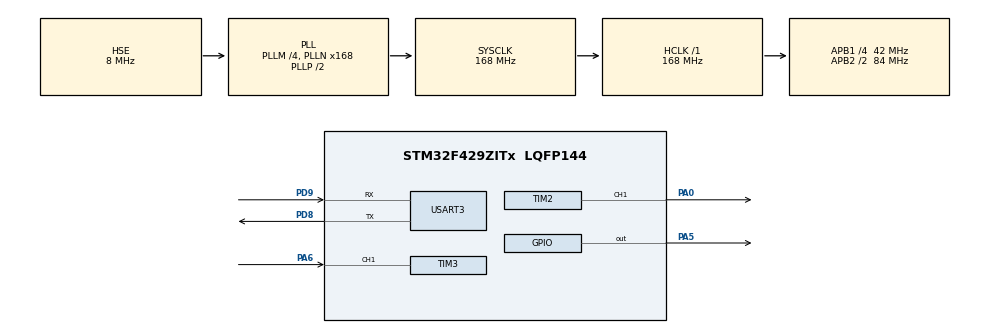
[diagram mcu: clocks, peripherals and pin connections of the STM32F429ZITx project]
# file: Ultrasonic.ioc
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Mcu.Family=STM32F4
Mcu.Name=STM32F429ZITx
Mcu.Package=LQFP144
NVIC.PriorityGroup=NVIC_PRIORITYGROUP_4
NVIC.TIM3_IRQn=true\:0\:0\:false\:false\:true\:true\:true\:true
PA0/WKUP.Signal=S_TIM2_CH1_ETR
PA5.Signal=GPIO_Output
PA6.Signal=S_TIM3_CH1
PC14/OSC32_IN.Mode=LSE-External-Oscillator
PC14/OSC32_IN.Signal=RCC_OSC32_IN
PC15/OSC32_OUT.Mode=LSE-External-Oscillator
PC15/OSC32_OUT.Signal=RCC_OSC32_OUT
PD8.Mode=Asynchronous
PD8.Signal=USART3_TX
PD9.Mode=Asynchronous
PD9.Signal=USART3_RX
PH0/OSC_IN.Mode=HSE-External-Clock-Source
PH0/OSC_IN.Signal=RCC_OSC_IN
PH1/OSC_OUT.Mode=HSE-External-Clock-Source
PH1/OSC_OUT.Signal=RCC_OSC_OUT
ProjectManager.HeapSize=0x200
ProjectManager.StackSize=0x400
ProjectManager.TargetToolchain=STM32CubeIDE
RCC.48MHZClocksFreq_Value=84000000
RCC.AHBFreq_Value=168000000
RCC.APB1CLKDivider=RCC_HCLK_DIV4
RCC.APB1Freq_Value=42000000
RCC.APB1TimFreq_Value=84000000
RCC.APB2CLKDivider=RCC_HCLK_DIV2
RCC.APB2Freq_Value=84000000
RCC.APB2TimFreq_Value=168000000
RCC.CortexFreq_Value=168000000
RCC.HCLKFreq_Value=168000000
RCC.HSE_VALUE=8000000
RCC.HSI_VALUE=16000000
RCC.PLLM=4
RCC.PLLN=168
RCC.PLLSourceVirtual=RCC_PLLSOURCE_HSE
RCC.SYSCLKFreq_VALUE=168000000
RCC.SYSCLKSource=RCC_SYSCLKSOURCE_PLLCLK
RCC.VCOOutputFreq_Value=336000000
SH.S_TIM2_CH1_ETR.0=TIM2_CH1,PWM Generation1 CH1
SH.S_TIM3_CH1.0=TIM3_CH1,Input_Capture1_from_TI1
TIM2.Channel-PWM\ Generation1\ CH1=TIM_CHANNEL_1
TIM2.CounterMode=TIM_COUNTERMODE_DOWN
TIM2.Period=168-1
TIM2.Prescaler=1000-1
TIM2.Pulse-PWM\ Generation1\ CH1=84
TIM3.Channel-Input_Capture1_from_TI1=TIM_CHANNEL_1
TIM3.Period=0xffff-1
TIM3.Prescaler=84-1
USART3.VirtualMode=VM_ASYNC
VP_TIM3_VS_ClockSourceINT.Mode=Internal
board=custom

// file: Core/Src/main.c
/* USER CODE BEGIN Header */
/**
 ******************************************************************************
 * @file           : main.c
 * @brief          : Main program body
 ******************************************************************************
 * @attention
 *
 * Copyright (c) 2023 STMicroelectronics.
 * All rights reserved.
 *
 * This software is licensed under terms that can be found in the LICENSE file
 * in the root directory of this software component.
 * If no LICENSE file comes with this software, it is provided AS-IS.
 *
 ******************************************************************************
 */
/* USER CODE END Header */
#include "main.h"

/* USER CODE BEGIN Includes */
#include <stdio.h>

/* USER CODE END Includes */

/* USER CODE BEGIN PD */
#define TRIG_PIN GPIO_PIN_5
#define TRIG_PORT GPIOA
/* USER CODE END PD */

TIM_HandleTypeDef htim2;
TIM_HandleTypeDef htim3;

UART_HandleTypeDef huart3;

/* USER CODE BEGIN PV */

#ifdef __GNUC__
/* With GCC, small printf (option LD Linker->Libraries->Small printf
 set to 'Yes') calls __io_putchar() */
#define PUTCHAR_PROTOTYPE int __io_putchar(int ch)
#else
#define PUTCHAR_PROTOTYPE int fputc(int ch, FILE *f)
#endif /* __GNUC__ */
PUTCHAR_PROTOTYPE {
	/* Place your implementation of fputc here */
	/* e.g. write a character to the EVAL_COM1 and Loop until the end of transmission */
	HAL_UART_Transmit(&huart3, (uint8_t*) &ch, 1, 0xFFFF);

	return ch;
}

uint32_t IC_Val1 = 0;
uint32_t IC_Val2 = 0;
uint32_t Difference = 0;
uint8_t Is_First_Captured = 0;  // is the first value captured ?
uint8_t Distance = 0;

enum notes {
	C = 956, D = 852, E = 758, F = 716, G = 638
};

/* USER CODE END PV */

void SystemClock_Config(void);
static void MX_GPIO_Init(void);
static void MX_TIM3_Init(void);
static void MX_USART3_UART_Init(void);
static void MX_TIM2_Init(void);
/* USER CODE BEGIN PFP */
void delay(uint16_t time) {
	__HAL_TIM_SET_COUNTER(&htim3, 0);
	while (__HAL_TIM_GET_COUNTER (&htim3) < time)
		;
}

void HAL_TIM_IC_CaptureCallback(TIM_HandleTypeDef *htim) {
	if (htim->Channel == HAL_TIM_ACTIVE_CHANNEL_1) // if the interrupt source is channel1
			{
		if (Is_First_Captured == 0) // if the first value is not captured
				{
			IC_Val1 = HAL_TIM_ReadCapturedValue(htim, TIM_CHANNEL_1); // read the first value
			Is_First_Captured = 1;  // set the first captured as true
			// Now change the polarity to falling edge
			__HAL_TIM_SET_CAPTUREPOLARITY(htim, TIM_CHANNEL_1,
					TIM_INPUTCHANNELPOLARITY_FALLING);
		}

		else if (Is_First_Captured == 1)   // if the first is already captured
				{
			IC_Val2 = HAL_TIM_ReadCapturedValue(htim, TIM_CHANNEL_1); // read second value
			__HAL_TIM_SET_COUNTER(htim, 0);  // reset the counter

			if (IC_Val2 > IC_Val1) {
				Difference = IC_Val2 - IC_Val1;
			}

			else if (IC_Val1 > IC_Val2) {
				Difference = (0xffff - IC_Val1) + IC_Val2;
			}

			Distance = Difference * .034 / 2;
			Is_First_Captured = 0; // set it back to false

			// set polarity to rising edge
			__HAL_TIM_SET_CAPTUREPOLARITY(htim, TIM_CHANNEL_1,
					TIM_INPUTCHANNELPOLARITY_RISING);
			__HAL_TIM_DISABLE_IT(&htim3, TIM_IT_CC1);
		}
	}
}

void HCSR04_Read(void) {
	HAL_GPIO_WritePin(TRIG_PORT, TRIG_PIN, GPIO_PIN_SET); // pull the TRIG pin HIGH
	delay(10);  // wait for 10 us
	HAL_GPIO_WritePin(TRIG_PORT, TRIG_PIN, GPIO_PIN_RESET); // pull the TRIG pin low

	__HAL_TIM_ENABLE_IT(&htim3, TIM_IT_CC1);
}
/* USER CODE END PFP */

/* USER CODE BEGIN 0 */
int _write(int fd, char *ptr, int len) {
	HAL_UART_Transmit(&huart3, (unsigned char*) ptr, len, HAL_MAX_DELAY);
	return len;
}

/* USER CODE END 0 */

int main(void) {

	/* MCU Configuration--------------------------------------------------------*/

	/* Reset of all peripherals, Initializes the Flash interface and the Systick. */
	HAL_Init();

	/* Configure the system clock */
	SystemClock_Config();

	/* Initialize all configured peripherals */
	MX_GPIO_Init();
	MX_TIM3_Init();
	MX_USART3_UART_Init();
	MX_TIM2_Init();
	/* USER CODE BEGIN 2 */
	HAL_TIM_IC_Start_IT(&htim2, TIM_CHANNEL_1);
	HAL_TIM_IC_Start_IT(&htim3, TIM_CHANNEL_1);
	/* USER CODE END 2 */

	/* Infinite loop */
	/* USER CODE BEGIN WHILE */
	setvbuf(stdin, NULL, _IONBF, 0);
	setvbuf(stdout, NULL, _IONBF, 0);

	while (1) {

		HCSR04_Read();
		printf("DISTANCE : %d cm\r\n", Distance);
		HAL_Delay(200);

		if (0 < Distance && Distance <= 5) {
			TIM2->ARR = E;
			printf("buzzer : E \r\n");
			TIM2->CCR1 = TIM2->ARR / 2;
			HAL_Delay(500);
			TIM2->CCR1 = 0;
		}
		else if (5 < Distance && Distance <= 10) {
			TIM2->ARR = C;
			printf("buzzer : E \r\n");
			TIM2->CCR1 = TIM2->ARR / 2;
			HAL_Delay(500);
			TIM2->CCR1 = 0;
		}
		else if (10 < Distance && Distance <= 15) {
			TIM2->ARR = G;
			printf("buzzer : E \r\n");
			TIM2->CCR1 = TIM2->ARR / 2;
			HAL_Delay(500);
			TIM2->CCR1 = 0;
		} else {
			TIM2->ARR = 0;
		}
		HAL_Delay(200);
		/* USER CODE END WHILE */

	}
}

void SystemClock_Config(void) {
	RCC_OscInitTypeDef RCC_OscInitStruct = { 0 };
	RCC_ClkInitTypeDef RCC_ClkInitStruct = { 0 };

	/** Configure the main internal regulator output voltage
	 */
	__HAL_RCC_PWR_CLK_ENABLE();
	__HAL_PWR_VOLTAGESCALING_CONFIG(PWR_REGULATOR_VOLTAGE_SCALE1);

	/** Initializes the RCC Oscillators according to the specified parameters
	 * in the RCC_OscInitTypeDef structure.
	 */
	RCC_OscInitStruct.OscillatorType = RCC_OSCILLATORTYPE_HSE;
	RCC_OscInitStruct.HSEState = RCC_HSE_BYPASS;
	RCC_OscInitStruct.PLL.PLLState = RCC_PLL_ON;
	RCC_OscInitStruct.PLL.PLLSource = RCC_PLLSOURCE_HSE;
	RCC_OscInitStruct.PLL.PLLM = 4;
	RCC_OscInitStruct.PLL.PLLN = 168;
	RCC_OscInitStruct.PLL.PLLP = RCC_PLLP_DIV2;
	RCC_OscInitStruct.PLL.PLLQ = 4;
	if (HAL_RCC_OscConfig(&RCC_OscInitStruct) != HAL_OK) {
		Error_Handler();
	}

	/** Initializes the CPU, AHB and APB buses clocks
	 */
	RCC_ClkInitStruct.ClockType = RCC_CLOCKTYPE_HCLK | RCC_CLOCKTYPE_SYSCLK
			| RCC_CLOCKTYPE_PCLK1 | RCC_CLOCKTYPE_PCLK2;
	RCC_ClkInitStruct.SYSCLKSource = RCC_SYSCLKSOURCE_PLLCLK;
	RCC_ClkInitStruct.AHBCLKDivider = RCC_SYSCLK_DIV1;
	RCC_ClkInitStruct.APB1CLKDivider = RCC_HCLK_DIV4;
	RCC_ClkInitStruct.APB2CLKDivider = RCC_HCLK_DIV2;

	if (HAL_RCC_ClockConfig(&RCC_ClkInitStruct, FLASH_LATENCY_5) != HAL_OK) {
		Error_Handler();
	}
}

static void MX_TIM2_Init(void) {

	TIM_MasterConfigTypeDef sMasterConfig = { 0 };
	TIM_OC_InitTypeDef sConfigOC = { 0 };

	htim2.Instance = TIM2;
	htim2.Init.Prescaler = 1000 - 1;
	htim2.Init.CounterMode = TIM_COUNTERMODE_DOWN;
	htim2.Init.Period = 168 - 1;
	htim2.Init.ClockDivision = TIM_CLOCKDIVISION_DIV1;
	htim2.Init.AutoReloadPreload = TIM_AUTORELOAD_PRELOAD_DISABLE;
	if (HAL_TIM_PWM_Init(&htim2) != HAL_OK) {
		Error_Handler();
	}
	sMasterConfig.MasterOutputTrigger = TIM_TRGO_RESET;
	sMasterConfig.MasterSlaveMode = TIM_MASTERSLAVEMODE_DISABLE;
	if (HAL_TIMEx_MasterConfigSynchronization(&htim2, &sMasterConfig)
			!= HAL_OK) {
		Error_Handler();
	}
	sConfigOC.OCMode = TIM_OCMODE_PWM1;
	sConfigOC.Pulse = 84;
	sConfigOC.OCPolarity = TIM_OCPOLARITY_HIGH;
	sConfigOC.OCFastMode = TIM_OCFAST_DISABLE;
	if (HAL_TIM_PWM_ConfigChannel(&htim2, &sConfigOC, TIM_CHANNEL_1)
			!= HAL_OK) {
		Error_Handler();
	}
	HAL_TIM_MspPostInit(&htim2);

}

static void MX_TIM3_Init(void) {

	TIM_ClockConfigTypeDef sClockSourceConfig = { 0 };
	TIM_MasterConfigTypeDef sMasterConfig = { 0 };
	TIM_IC_InitTypeDef sConfigIC = { 0 };

	htim3.Instance = TIM3;
	htim3.Init.Prescaler = 84 - 1;
	htim3.Init.CounterMode = TIM_COUNTERMODE_UP;
	htim3.Init.Period = 0xffff - 1;
	htim3.Init.ClockDivision = TIM_CLOCKDIVISION_DIV1;
	htim3.Init.AutoReloadPreload = TIM_AUTORELOAD_PRELOAD_DISABLE;
	if (HAL_TIM_Base_Init(&htim3) != HAL_OK) {
		Error_Handler();
	}
	sClockSourceConfig.ClockSource = TIM_CLOCKSOURCE_INTERNAL;
	if (HAL_TIM_ConfigClockSource(&htim3, &sClockSourceConfig) != HAL_OK) {
		Error_Handler();
	}
	if (HAL_TIM_IC_Init(&htim3) != HAL_OK) {
		Error_Handler();
	}
	sMasterConfig.MasterOutputTrigger = TIM_TRGO_RESET;
	sMasterConfig.MasterSlaveMode = TIM_MASTERSLAVEMODE_DISABLE;
	if (HAL_TIMEx_MasterConfigSynchronization(&htim3, &sMasterConfig)
			!= HAL_OK) {
		Error_Handler();
	}
	sConfigIC.ICPolarity = TIM_INPUTCHANNELPOLARITY_RISING;
	sConfigIC.ICSelection = TIM_ICSELECTION_DIRECTTI;
	sConfigIC.ICPrescaler = TIM_ICPSC_DIV1;
	sConfigIC.ICFilter = 0;
	if (HAL_TIM_IC_ConfigChannel(&htim3, &sConfigIC, TIM_CHANNEL_1) != HAL_OK) {
		Error_Handler();
	}

}

static void MX_USART3_UART_Init(void) {

	huart3.Instance = USART3;
	huart3.Init.BaudRate = 115200;
	huart3.Init.WordLength = UART_WORDLENGTH_8B;
	huart3.Init.StopBits = UART_STOPBITS_1;
	huart3.Init.Parity = UART_PARITY_NONE;
	huart3.Init.Mode = UART_MODE_TX_RX;
	huart3.Init.HwFlowCtl = UART_HWCONTROL_NONE;
	huart3.Init.OverSampling = UART_OVERSAMPLING_16;
	if (HAL_UART_Init(&huart3) != HAL_OK) {
		Error_Handler();
	}

}

static void MX_GPIO_Init(void) {
	GPIO_InitTypeDef GPIO_InitStruct = { 0 };

	/* GPIO Ports Clock Enable */
	__HAL_RCC_GPIOC_CLK_ENABLE();
	__HAL_RCC_GPIOH_CLK_ENABLE();
	__HAL_RCC_GPIOA_CLK_ENABLE();
	__HAL_RCC_GPIOD_CLK_ENABLE();

	/*Configure GPIO pin Output Level */
	HAL_GPIO_WritePin(GPIOA, GPIO_PIN_5, GPIO_PIN_RESET);

	/*Configure GPIO pin : PA5 */
	GPIO_InitStruct.Pin = GPIO_PIN_5;
	GPIO_InitStruct.Mode = GPIO_MODE_OUTPUT_PP;
	GPIO_InitStruct.Pull = GPIO_NOPULL;
	GPIO_InitStruct.Speed = GPIO_SPEED_FREQ_LOW;
	HAL_GPIO_Init(GPIOA, &GPIO_InitStruct);

}

void Error_Handler(void) {
	__disable_irq();
	while (1) {
	}
}
